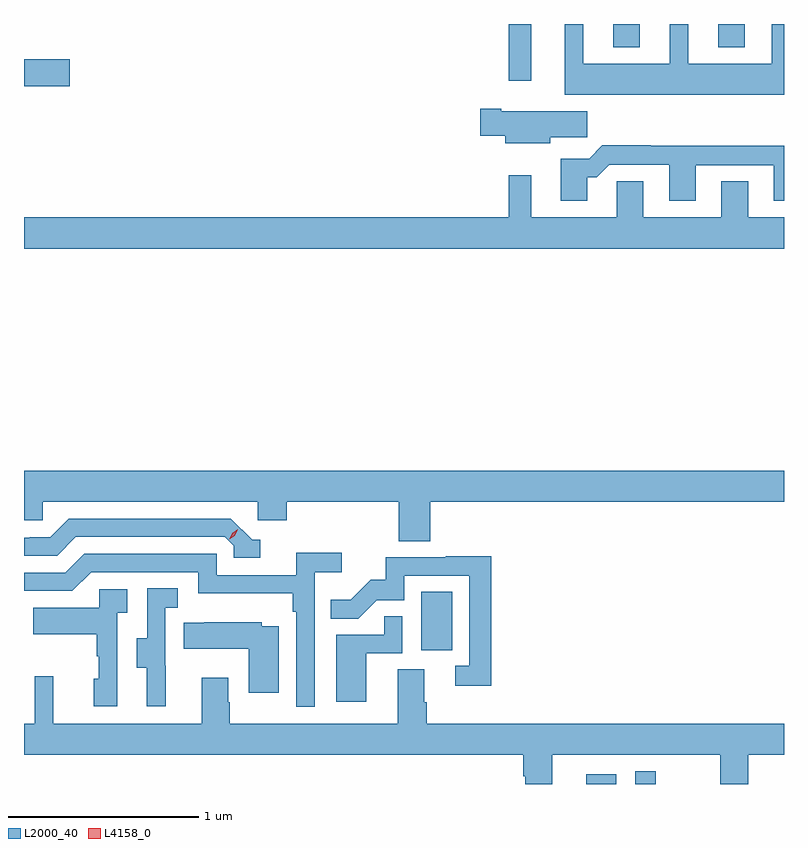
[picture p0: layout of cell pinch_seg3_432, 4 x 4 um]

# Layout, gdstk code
import gdstk
lib = gdstk.Library(unit=1e-6, precision=1e-09)
def R(c, l, rs):  # rectangles x0, y0, x1, y1
    for r in rs: c.add(gdstk.rectangle(r[:2], r[2:], *l))
def P(c, l, *ps):  # polygons
    for p in ps: c.add(gdstk.Polygon(p, *l))
L2000_40 = (2000, 40)
L4158_0 = (4158, 0)

pinch_seg3_432 = lib.new_cell('pinch_seg3_432')
R(pinch_seg3_432, L2000_40, [(936.35,672.79,936.508,672.841), (936.606,672.79,936.715,672.856), (935.48,673.494,935.644,673.801), (933.39,676.463,933.631,676.605), (935.94,676.491,936.061,676.79), (936.491,676.667,936.631,676.79), (937.043,676.667,937.183,676.79)])
P(pinch_seg3_432, L2000_40, [(937.39,676.79),(937.325,676.79),(937.325,676.582),(936.886,676.582),(936.886,676.79),(936.788,676.79),(936.788,676.582),(936.334,676.582),(936.334,676.79),(936.236,676.79),(936.236,676.418),(937.39,676.418)],
  [(936.16,676.195),(936.355,676.195),(936.355,676.33),(935.902,676.33),(935.902,676.343),(935.79,676.343),(935.79,676.201),(935.924,676.201),(935.924,676.163),(936.16,676.163)],
  [(936.355,675.983),(936.404,675.983),(936.471,676.05),(936.785,676.05),(936.785,675.861),(936.925,675.861),(936.925,676.047),(937.337,676.047),(937.337,675.861),(937.39,675.861),(937.39,676.148),(936.689,676.148),(936.689,676.151),(936.434,676.151),(936.364,676.081),(936.215,676.081),(936.215,675.861),(936.355,675.861)],
  [(937.39,675.772),(937.201,675.772),(937.201,675.962),(937.061,675.962),(937.061,675.772),(936.649,675.772),(936.649,675.962),(936.51,675.962),(936.51,675.772),(936.061,675.772),(936.061,675.994),(935.94,675.994),(935.94,675.772),(933.39,675.772),(933.39,675.608),(937.39,675.608)],
  [(935.528,674.276),(937.39,674.276),(937.39,674.44),(933.39,674.44),(933.39,674.178),(933.489,674.178),(933.489,674.276),(934.62,674.276),(934.62,674.178),(934.772,674.178),(934.772,674.276),(935.363,674.276),(935.363,674.068),(935.528,674.068)],
  [(934.633,674.076),(934.59,674.076),(934.479,674.187),(933.626,674.187),(933.527,674.088),(933.42,674.088),(933.42,674.085),(933.39,674.085),(933.39,673.992),(933.564,673.992),(933.663,674.091),(934.446,674.091),(934.494,674.043),(934.494,673.98),(934.633,673.98)],
  [(934.92,673.904),(935.062,673.904),(935.062,674.006),(934.823,674.006),(934.823,673.89),(934.404,673.89),(934.404,674.001),(933.707,674.001),(933.608,673.902),(933.39,673.902),(933.39,673.806),(933.645,673.806),(933.744,673.905),(934.308,673.905),(934.308,673.793),(934.804,673.793),(934.804,673.697),(934.824,673.697),(934.824,673.197),(934.92,673.197)],
  [(935.849,673.988),(935.611,673.988),(935.611,673.983),(935.293,673.983),(935.293,673.866),(935.216,673.866),(935.109,673.759),(935.005,673.759),(935.005,673.66),(935.149,673.66),(935.247,673.758),(935.391,673.758),(935.391,673.887),(935.733,673.887),(935.733,673.413),(935.661,673.413),(935.661,673.308),(935.849,673.308)],
  [(934.136,673.413),(934.134,673.413),(934.134,673.717),(934.198,673.717),(934.198,673.82),(934.038,673.82),(934.038,673.557),(933.983,673.557),(933.983,673.402),(934.037,673.402),(934.037,673.2),(934.136,673.2)],
  [(933.882,673.691),(933.934,673.691),(933.934,673.815),(933.786,673.815),(933.786,673.717),(933.439,673.717),(933.439,673.577),(933.774,673.577),(933.774,673.463),(933.784,673.463),(933.784,673.344),(933.758,673.344),(933.758,673.2),(933.882,673.2)],
  [(935.191,673.479),(935.382,673.479),(935.382,673.673),(935.287,673.673),(935.287,673.575),(935.033,673.575),(935.033,673.224),(935.191,673.224)],
  [(934.732,673.621),(934.641,673.621),(934.641,673.642),(934.339,673.642),(934.339,673.639),(934.231,673.639),(934.231,673.502),(934.574,673.502),(934.574,673.269),(934.732,673.269)],
  [(936.169,672.944),(937.054,672.944),(937.054,672.79),(937.201,672.79),(937.201,672.944),(937.39,672.944),(937.39,673.108),(935.51,673.108),(935.51,673.22),(935.497,673.22),(935.497,673.394),(935.357,673.394),(935.357,673.108),(934.473,673.108),(934.473,673.22),(934.465,673.22),(934.465,673.348),(934.325,673.348),(934.325,673.108),(933.545,673.108),(933.545,673.357),(933.447,673.357),(933.447,673.108),(933.39,673.108),(933.39,672.944),(936.017,672.944),(936.017,672.832),(936.029,672.832),(936.029,672.79),(936.169,672.79)])
P(pinch_seg3_432, L4158_0, [(934.469,674.078),(934.469,674.078),(934.485,674.111),(934.516,674.13),(934.516,674.13),(934.516,674.129),(934.5,674.097),(934.469,674.078)])

lib.write_gds('pinch_seg3_432.gds')
